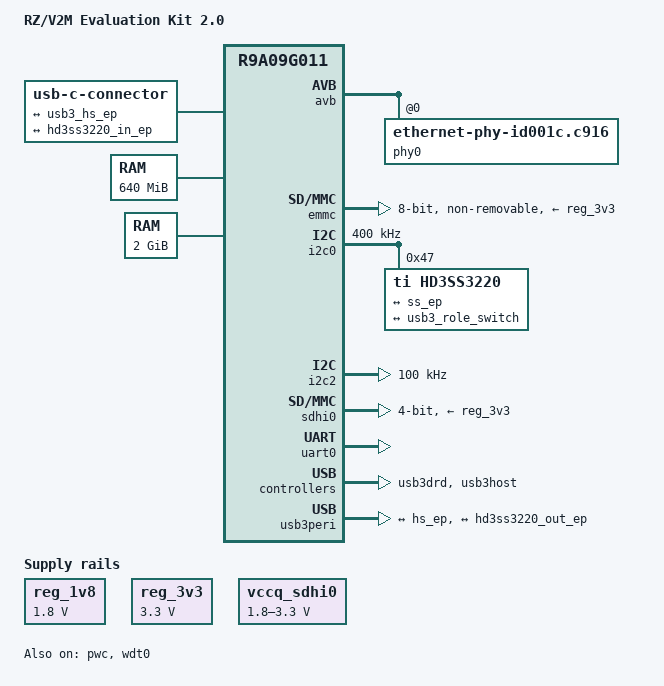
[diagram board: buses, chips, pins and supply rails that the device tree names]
// SPDX-License-Identifier: (GPL-2.0-only OR BSD-2-Clause)
/*
 * Device Tree Source for the RZ/V2M (r9a09g011) Evaluation Kit Board
 *
 * Copyright (C) 2022 Renesas Electronics Corp.
 */

/dts-v1/;
#include "r9a09g011.dtsi"
#include <dt-bindings/gpio/gpio.h>
#include <dt-bindings/pinctrl/rzv2m-pinctrl.h>

/ {
	model = "RZ/V2M Evaluation Kit 2.0";
	compatible = "renesas,rzv2mevk2", "renesas,r9a09g011";

	aliases {
		serial0 = &uart0;
		ethernet0 = &avb;
	};

	chosen {
		stdout-path = "serial0:115200n8";
	};

	connector {
		compatible = "usb-c-connector";
		label = "USB-C";
		data-role = "dual";

		ports {
			#address-cells = <1>;
			#size-cells = <0>;

			port@0 {
				reg = <0>;
				hs_ep: endpoint {
					remote-endpoint = <&usb3_hs_ep>;
				};
			};

			port@1 {
				reg = <1>;
				ss_ep: endpoint {
					remote-endpoint = <&hd3ss3220_in_ep>;
				};
			};
		};
	};

	memory@58000000 {
		device_type = "memory";
		/*
		 * first 1.25GiB is reserved for ISP Firmware,
		 * next 128MiB is reserved for secure area.
		 */
		reg = <0x0 0x58000000 0x0 0x28000000>;
	};

	memory@180000000 {
		device_type = "memory";
		reg = <0x1 0x80000000 0x0 0x80000000>;
	};

	reg_1v8: regulator-1v8 {
		compatible = "regulator-fixed";
		regulator-name = "fixed-1.8V";
		regulator-min-microvolt = <1800000>;
		regulator-max-microvolt = <1800000>;
		regulator-boot-on;
		regulator-always-on;
	};

	reg_3v3: regulator-3v3 {
		compatible = "regulator-fixed";
		regulator-name = "fixed-3.3V";
		regulator-min-microvolt = <3300000>;
		regulator-max-microvolt = <3300000>;
		regulator-boot-on;
		regulator-always-on;
	};

	vccq_sdhi0: regulator-vccq-sdhi0 {
		compatible = "regulator-gpio";

		regulator-name = "SDHI0 VccQ";
		regulator-min-microvolt = <1800000>;
		regulator-max-microvolt = <3300000>;

		gpios = <&pwc 0 GPIO_ACTIVE_HIGH>;
		gpios-states = <1>;
		states = <3300000 0>, <1800000 1>;
	};
};

&avb {
	renesas,no-ether-link;
	phy-handle = <&phy0>;
	phy-mode = "gmii";
	status = "okay";

	phy0: ethernet-phy@0 {
		compatible = "ethernet-phy-id001c.c916",
			     "ethernet-phy-ieee802.3-c22";
		reg = <0>;
	};
};

&emmc {
	pinctrl-0 = <&emmc_pins>;
	pinctrl-1 = <&emmc_pins>;
	pinctrl-names = "default", "state_uhs";

	vmmc-supply = <&reg_3v3>;
	vqmmc-supply = <&reg_1v8>;
	bus-width = <8>;
	mmc-hs200-1_8v;
	no-sd;
	no-sdio;
	non-removable;
	fixed-emmc-driver-type = <1>;
	max-frequency = <200000000>;
	status = "okay";
};

&extal_clk {
	clock-frequency = <48000000>;
};

&i2c0 {
	pinctrl-0 = <&i2c0_pins>;
	pinctrl-names = "default";
	clock-frequency = <400000>;
	status = "okay";

	hd3ss3220@47 {
		compatible = "ti,hd3ss3220";
		reg = <0x47>;

		ports {
			#address-cells = <1>;
			#size-cells = <0>;

			port@0 {
				reg = <0>;
				hd3ss3220_in_ep: endpoint {
					remote-endpoint = <&ss_ep>;
				};
			};

			port@1 {
				reg = <1>;
				hd3ss3220_out_ep: endpoint {
					remote-endpoint = <&usb3_role_switch>;
				};
			};
		};
	};
};

&i2c2 {
	pinctrl-0 = <&i2c2_pins>;
	pinctrl-names = "default";
	clock-frequency = <100000>;
	status = "okay";
};

&pinctrl {
	emmc_pins: emmc {
		data {
			pinmux = <RZV2M_PORT_PINMUX(0, 0, 2)>, /* MMDAT0 */
				 <RZV2M_PORT_PINMUX(0, 1, 2)>, /* MMDAT1 */
				 <RZV2M_PORT_PINMUX(0, 2, 2)>, /* MMDAT2 */
				 <RZV2M_PORT_PINMUX(0, 3, 2)>, /* MMDAT3 */
				 <RZV2M_PORT_PINMUX(0, 4, 2)>, /* MMDAT4 */
				 <RZV2M_PORT_PINMUX(0, 5, 2)>, /* MMDAT5 */
				 <RZV2M_PORT_PINMUX(0, 6, 2)>, /* MMDAT6 */
				 <RZV2M_PORT_PINMUX(0, 7, 2)>; /* MMDAT7 */
			power-source = <1800>;
		};

		ctrl {
			pinmux = <RZV2M_PORT_PINMUX(0, 10, 2)>, /* MMCMD */
				 <RZV2M_PORT_PINMUX(0, 11, 2)>; /* MMCLK */
			power-source = <1800>;
		};
	};

	i2c0_pins: i2c0 {
		pinmux = <RZV2M_PORT_PINMUX(5, 0, 2)>, /* SDA */
			 <RZV2M_PORT_PINMUX(5, 1, 2)>; /* SCL */
	};

	i2c2_pins: i2c2 {
		pinmux = <RZV2M_PORT_PINMUX(3, 8, 2)>, /* SDA */
			 <RZV2M_PORT_PINMUX(3, 9, 2)>; /* SCL */
	};

	sdhi0_pins: sd0 {
		data {
			pinmux = <RZV2M_PORT_PINMUX(8, 2, 1)>, /* SD0DAT0 */
				 <RZV2M_PORT_PINMUX(8, 3, 1)>, /* SD0DAT1 */
				 <RZV2M_PORT_PINMUX(8, 4, 1)>, /* SD0DAT2 */
				 <RZV2M_PORT_PINMUX(8, 5, 1)>; /* SD0DAT3 */
			power-source = <3300>;
		};

		ctrl {
			pinmux = <RZV2M_PORT_PINMUX(8, 0, 1)>, /* SD0CMD */
				 <RZV2M_PORT_PINMUX(8, 1, 1)>; /* SD0CLK */
			power-source = <3300>;
		};

		cd {
			pinmux = <RZV2M_PORT_PINMUX(8, 7, 1)>; /* SD0CD */
			power-source = <3300>;
		};
	};

	sdhi0_pins_uhs: sd0-uhs {
		data {
			pinmux = <RZV2M_PORT_PINMUX(8, 2, 1)>, /* SD0DAT0 */
				 <RZV2M_PORT_PINMUX(8, 3, 1)>, /* SD0DAT1 */
				 <RZV2M_PORT_PINMUX(8, 4, 1)>, /* SD0DAT2 */
				 <RZV2M_PORT_PINMUX(8, 5, 1)>; /* SD0DAT3 */
			power-source = <1800>;
		};

		ctrl {
			pinmux = <RZV2M_PORT_PINMUX(8, 0, 1)>, /* SD0CMD */
				 <RZV2M_PORT_PINMUX(8, 1, 1)>; /* SD0CLK */
			power-source = <1800>;
		};

		cd {
			pinmux = <RZV2M_PORT_PINMUX(8, 7, 1)>; /* SD0CD */
			power-source = <1800>;
		};
	};

	uart0_pins: uart0 {
		pinmux = <RZV2M_PORT_PINMUX(3, 0, 2)>, /* UATX0 */
			 <RZV2M_PORT_PINMUX(3, 1, 2)>, /* UARX0 */
			 <RZV2M_PORT_PINMUX(3, 2, 2)>, /* UACTS0N */
			 <RZV2M_PORT_PINMUX(3, 3, 2)>; /* UARTS0N */
	};
};

&pwc {
	renesas,rzv2m-pwc-power;
	status = "okay";
};

&sdhi0 {
	pinctrl-0 = <&sdhi0_pins>;
	pinctrl-1 = <&sdhi0_pins_uhs>;
	pinctrl-names = "default", "state_uhs";

	vmmc-supply = <&reg_3v3>;
	vqmmc-supply = <&vccq_sdhi0>;
	bus-width = <4>;
	sd-uhs-sdr50;
	sd-uhs-sdr104;
	status = "okay";
};

&uart0 {
	pinctrl-0 = <&uart0_pins>;
	pinctrl-names = "default";

	uart-has-rtscts;
	status = "okay";
};

&usb3drd {
	status = "okay";
};

&usb3host {
	status = "okay";
};

&usb3peri {
	companion = <&usb3host>;
	status = "okay";
	usb-role-switch;

	ports {
		#address-cells = <1>;
		#size-cells = <0>;

		port@0 {
			reg = <0>;
			usb3_hs_ep: endpoint {
				remote-endpoint = <&hs_ep>;
			};
		};

		port@1 {
			reg = <1>;
			usb3_role_switch: endpoint {
				remote-endpoint = <&hd3ss3220_out_ep>;
			};
		};
	};
};

&wdt0 {
	status = "okay";
};
